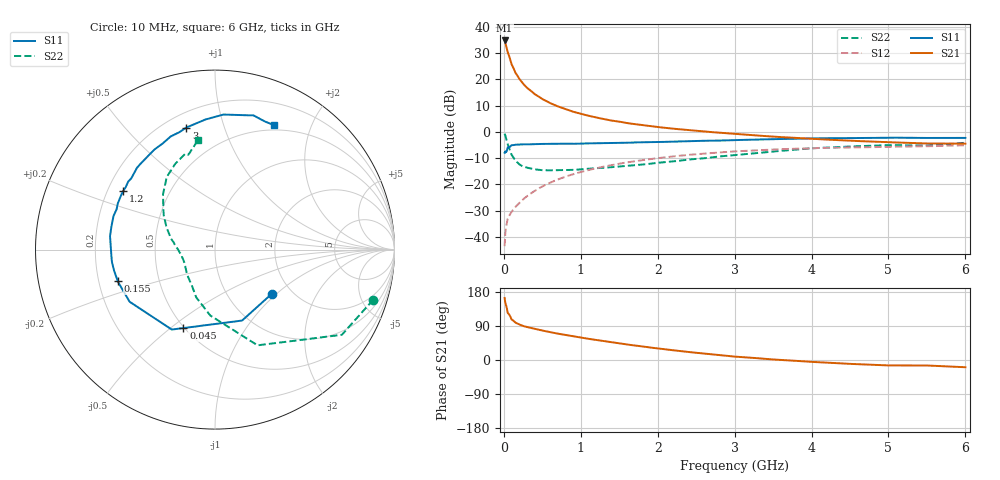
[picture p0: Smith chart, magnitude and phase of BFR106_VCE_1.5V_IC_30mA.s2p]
! Infineon Technologies  Discrete & RF Semiconductors
! BFR106
! VCE =  1.5 V,  IC =  30 mA
! Common Emitter S-Parameters:  Nov 2015
# GHz  S  MA  R  50
!  f  S11  S21  S12  S22
! GHz  MAG  ANG  MAG  ANG  MAG  ANG  MAG  ANG
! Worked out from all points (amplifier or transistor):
!   210 points, 10 MHz to 6 GHz, reference 50 ohm
!   highest |S21| = 34.9 dB at 10 MHz (marker M1)
!   |S21| within 3 dB of that: start of sweep to 37.58 MHz
!   unconditionally stable (mu >= 1): 285.3 MHz to 2.901 GHz; 4.566 GHz to end of sweep
!   at 185 MHz: K = 0.88, MSG = 24.3 dB, |S12| = -27.6 dB
!   at 1.52 GHz: K = 1.07, MAG = 6.3 dB, |S12| = -12.0 dB
!   at 6 GHz: K = 1.02, MAG = -0.5 dB, |S12| = -5.1 dB
!   S11 on the Smith chart (normalised r, x): 10 MHz: 1.59, -0.93; 45 MHz: 0.49, -0.56; 155 MHz: 0.28, -0.14; 1.2 GHz: 0.26, +0.27; 3 GHz: 0.28, +0.75; 6 GHz: 0.44, +1.49
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0.01  0.4008 -38.0  55.5 163.6  0.0066 79.9  0.9245 -17.6
0.02  0.4231 -69.1  50.02 150.2  0.0122 66.7  0.8514 -33.9
0.045  0.471 -111.9  35.55 130.3  0.0203 56.1  0.6114 -58.9
0.05  0.5064 -118.4  33.42 124.5  0.022 54.9  0.5838 -66.0
0.1  0.5575 -148.6  19.59 107.0  0.0298 53.4  0.3681 -94.1
0.15  0.5694 -161.5  13.5 98.6  0.0369 56.5  0.2862 -111.4
0.155  0.5695 -162.2  13.18 98.2  0.0376 56.9  0.2813 -112.3
0.2  0.5744 -168.3  10.33 93.6  0.0437 60.1  0.241 -121.9
0.26  0.5785 -174.1  8.014 89.2  0.0531 62.3  0.2159 -133.3
0.3  0.5781 -177.1  6.945 86.9  0.0592 64.1  0.2081 -138.3
0.4  0.5829 176.9  5.264 82.1  0.0745 66.1  0.1933 -148.6
0.5  0.5896 172.7  4.235 77.7  0.091 66.6  0.1858 -155.6
0.6  0.591 168.5  3.552 73.5  0.1069 66.6  0.1848 -160.1
0.8  0.5957 161.6  2.71 66.1  0.1394 65.0  0.1883 -168.1
1.02  0.6002 153.8  2.175 58.7  0.1745 62.6  0.1932 -173.6
1.2  0.607 147.7  1.881 52.8  0.2022 60.1  0.2024 -178.2
2.02  0.641 125.6  1.228 30.1  0.3177 46.7  0.2588 164.3
3  0.6987 103.2  0.915 9.0  0.4243 30.5  0.3598 143.0
3.1  0.7029 101.3  0.893 7.6  0.4314 28.9  0.3715 140.8
4.1  0.7547 85.1  0.725 -5.9  0.4928 13.9  0.4932 121.7
5.1  0.775 72.9  0.628 -14.3  0.5216 2.1  0.5572 106.9
6  0.7675 64.7  0.596 -19.1  0.556 -6.8  0.6198 98.6
